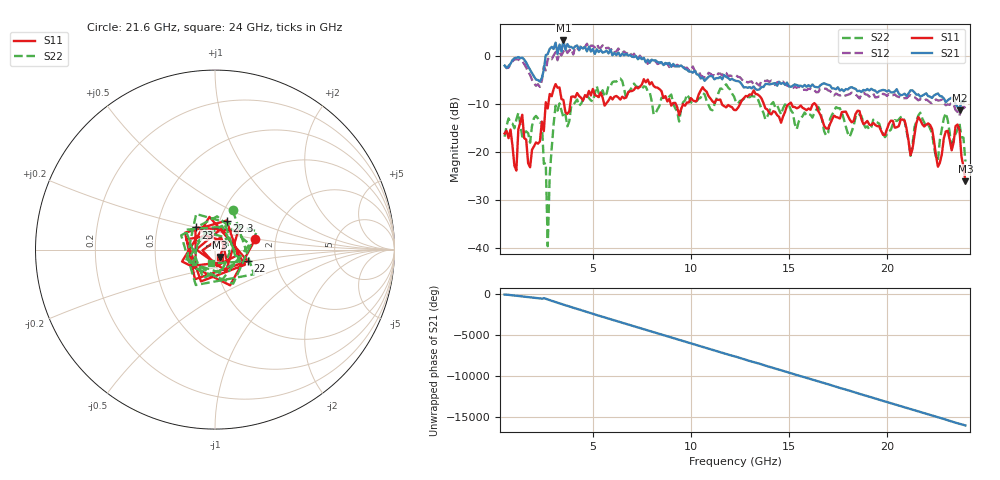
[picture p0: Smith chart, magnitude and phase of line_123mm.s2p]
!Created with skrf (http://scikit-rf.org).
# GHz S RI R 50.0
!freq ReS11 ImS11 ReS21 ImS21 ReS12 ImS12 ReS22 ImS22
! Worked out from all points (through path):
!   236 points, 500 MHz to 24 GHz, reference 50 ohm
!   highest |S21| = 3.23 dB at 3.5 GHz (marker M1); lowest = -11.3 dB at 23.7 GHz (marker M2)
!   lowest |S11| = -26.0 dB at 24 GHz (marker M3), VSWR 1.10, Z = 52.7 - j4.38 ohm
!   |S11| at or under -10 dB: start of sweep to 2.594 GHz; 13.72 GHz to 15 GHz (1.28 GHz wide, 8.92 % of centre); 16.34 GHz to end of sweep (the widest 3 of 10)
!   |S22| runs from -39.6 to -4.7 dB; largest |S21 - S12| = 2.5
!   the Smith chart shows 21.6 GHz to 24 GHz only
!   S11 on the Smith chart (normalised r, x): 21.6 GHz: 1.56, +0.19; 22 GHz: 1.43, -0.19; 22.3 GHz: 1.08, +0.36; 23 GHz: 0.78, +0.20; 24 GHz: 1.05, -0.09
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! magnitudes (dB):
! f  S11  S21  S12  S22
! 500 MHz  -16.1  -2.0  -1.9  -16.8
! 1.1 GHz  -23.8  -0.4  -0.7  -13.2
! 1.4 GHz  -12.2  -0.3  -1.1  -16.8
! 1.8 GHz  -23.2  -2.9  -3.9  -18.0
! 2.4 GHz  -13.7  -4.6  -5.1  -13.7
! 2.6 GHz  -9.6  0.2  -3.0  -22.2
! 2.7 GHz  -10.9  0.4  -0.7  -39.6
! 3.1 GHz  -5.9  2.8  0.8  -10.3
! 3.5 GHz  -9.2  3.2  1.0  -12.8
! 4.5 GHz  -9.2  1.5  1.7  -9.1
! 8.4 GHz  -6.9  -1.4  -1.5  -10.3
! 12.3 GHz  -11.3  -5.2  -4.0  -9.6
! 16.2 GHz  -10.1  -5.9  -7.2  -12.8
! 20.1 GHz  -14.1  -7.1  -7.9  -15.7
! 21.2 GHz  -20.6  -7.1  -8.2  -20.8
! 21.6 GHz  -12.7  -8.0  -9.2  -12.4
! 22 GHz  -14.3  -7.8  -9.0  -14.6
! 22.3 GHz  -15.2  -8.7  -9.8  -16.0
! 22.6 GHz  -23.0  -7.8  -9.3  -21.6
! 23 GHz  -15.7  -9.6  -10.2  -11.9
! 23.7 GHz  -15.5  -11.3  -12.5  -14.1
! 24 GHz  -26.0  -9.2  -10.5  -22.0
